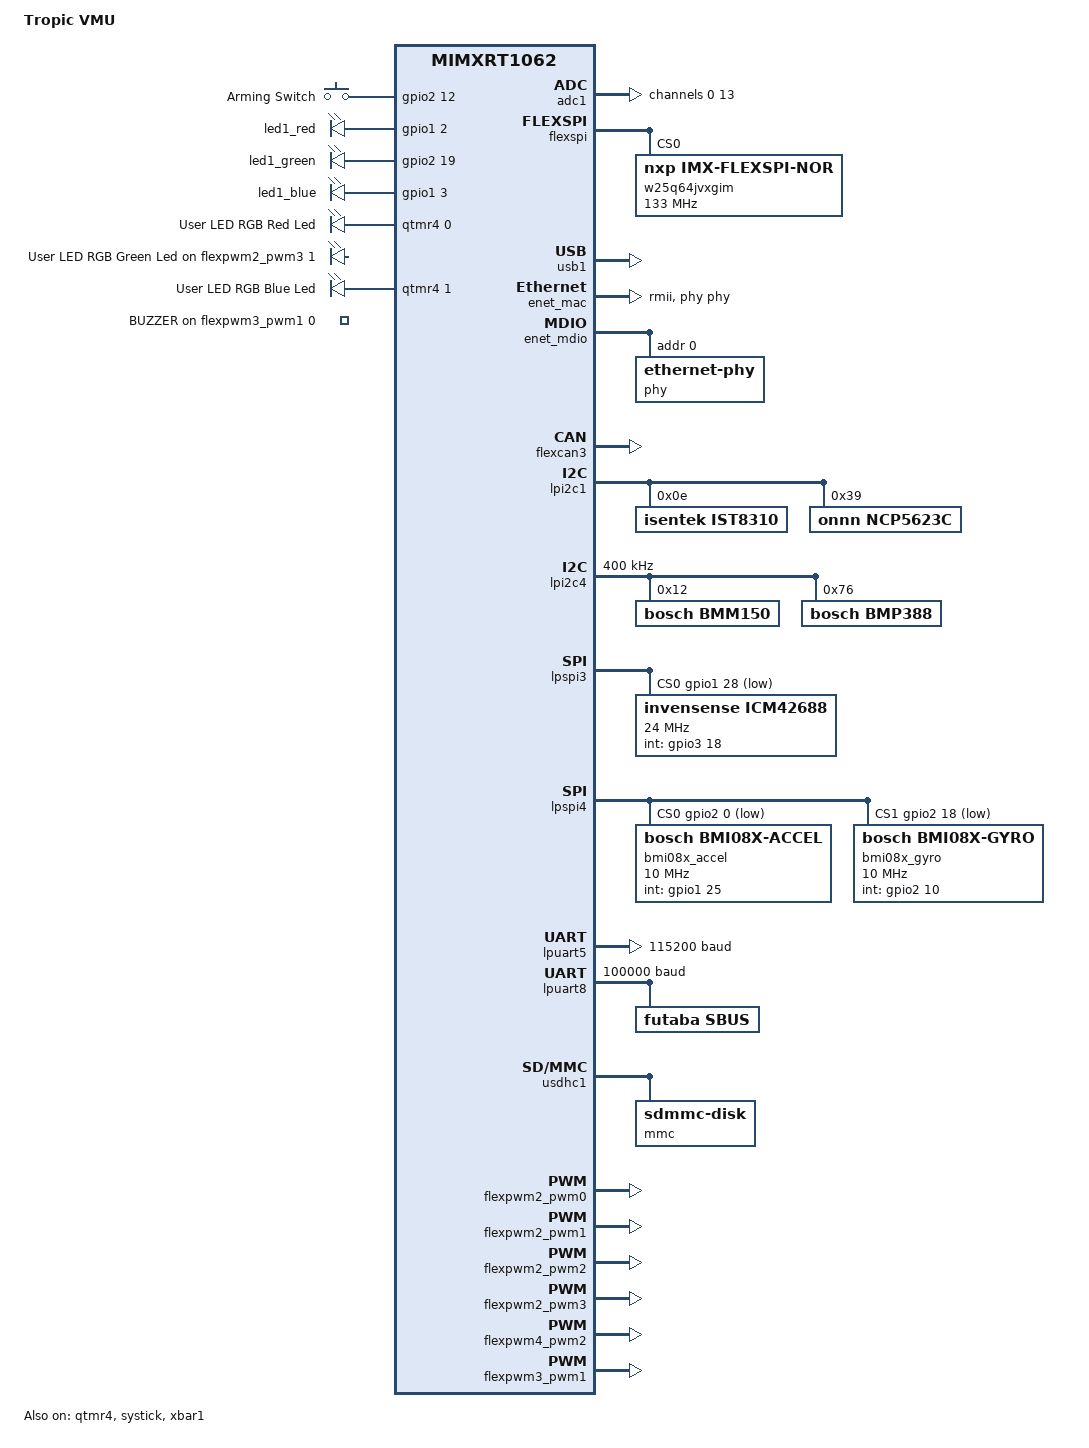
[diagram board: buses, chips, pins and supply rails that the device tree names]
/*
 * Copyright (c) 2020, Bernhard Kraemer
 * Copyright (c) 2024, Peter van der Perk
 *
 * SPDX-License-Identifier: Apache-2.0
 */

/dts-v1/;

#include <nxp/nxp_rt1060.dtsi>
#include <zephyr/dt-bindings/led/led.h>
#include "tropic-pinctrl.dtsi"
#include <freq.h>
#include <mem.h>
#include <zephyr/dt-bindings/input/input-event-codes.h>

/ {
	model = "Tropic VMU";
	compatible = "nxp,mimxrt1062";

	aliases {
		led0 = &led1_red;
		led1 = &led1_green;
		led2 = &led1_blue;
		pwm-led0 = &led1_red_pwm;
		pwm-led1 = &led1_green_pwm;
		pwm-led2 = &led1_blue_pwm;
		red-pwm-led = &led1_red_pwm;
		green-pwm-led = &led1_green_pwm;
		blue-pwm-led = &led1_blue_pwm;
		sw0 = &arming_button;
		buzzer = &buzzer;
	};

	chosen {
		zephyr,flash-controller = &w25q64jvxgim;
		zephyr,flash = &w25q64jvxgim;
		zephyr,sram = &ocram;
		zephyr,itcm = &itcm;
		zephyr,dtcm = &dtcm;
		zephyr,console = &lpuart5; /* Teensy Pins 35, 34 */
		zephyr,shell-uart = &lpuart5;
		zephyr,canbus = &flexcan3;
	};

	gpio_keys {
		compatible = "gpio-keys";
		arming_button: button_0 {
			label = "Arming Switch";
			gpios = <&gpio2 12 (GPIO_PULL_DOWN | GPIO_ACTIVE_HIGH)>;
			zephyr,code = <INPUT_KEY_0>;
		};
	};

    leds {
        compatible = "gpio-leds";
		
        led1_red: led1_red {
            gpios = <&gpio1 2 GPIO_ACTIVE_HIGH>;
		};

        led1_green: led1_green {
            gpios = <&gpio2 19 GPIO_ACTIVE_HIGH>;
		};

        led1_blue: led1_blue {
            gpios = <&gpio1 3 GPIO_ACTIVE_HIGH>;
		};
	};

    pwm {
        compatible = "pwm-leds";
		
		led1_red_pwm: led1_red_pwm {
			label = "User LED RGB Red Led";
            pwms = <&qtmr4 0 PWM_MSEC(20) PWM_POLARITY_INVERTED>;
		};
		
		led1_green_pwm: led1_green_pwm {
			label = "User LED RGB Green Led";
            pwms = <&flexpwm2_pwm3 1 PWM_MSEC(20) PWM_POLARITY_INVERTED>;
		};
		
		led1_blue_pwm: led1_blue_pwm {
			label = "User LED RGB Blue Led";
            pwms = <&qtmr4 1 PWM_MSEC(20) PWM_POLARITY_INVERTED>;
		};

        buzzer: buzzer {
            label = "BUZZER";
            pwms = <&flexpwm3_pwm1 0 PWM_KHZ(1) PWM_POLARITY_NORMAL>;
        };
    };
};

&adc1 {
	status = "okay";
	pinctrl-0 = <&pinmux_adc1>;
	pinctrl-names = "default";

	#address-cells = <1>;
	#size-cells = <0>;

	adc_a: channel@0 {
		reg = <0>;
		zephyr,gain = "ADC_GAIN_1";
		zephyr,reference = "ADC_REF_INTERNAL";
		zephyr,acquisition-time = <ADC_ACQ_TIME_DEFAULT>;
		zephyr,resolution = <12>;
	};

	adc_v: channel@13 {
		reg = <13>;
		zephyr,gain = "ADC_GAIN_1";
		zephyr,reference = "ADC_REF_INTERNAL";
		zephyr,acquisition-time = <ADC_ACQ_TIME_DEFAULT>;
		zephyr,resolution = <12>;
	};
};

&flexspi {
	status = "okay";

	reg = <0x402a8000 0x4000>, <0x60000000 DT_SIZE_M(8)>;
	/* WINBOND flash memory*/
	w25q64jvxgim: w25q64jvxgim@0 {
		compatible = "nxp,imx-flexspi-nor";
		size = <DT_SIZE_M(8 * 8)>;
		reg = <0>;
		spi-max-frequency = <DT_FREQ_M(133)>;
		status = "okay";
		jedec-id = [ef 70 17];

		erase-block-size = <4096>;
		write-block-size = <1>;
	};
};

zephyr_udc0: &usb1 {
	status = "okay";
};

&edma0 {
	status = "okay";
};

/* Pinmux settings */
&enet_mac {
	pinctrl-0 = <&pinmux_enet>;
	pinctrl-names = "default";
	zephyr,random-mac-address;
	phy-connection-type = "rmii";
	phy-handle = <&phy>;
};

&enet_mdio {
	status = "okay";
	pinctrl-0 = <&pinmux_enet>;
	pinctrl-names = "default";
	phy: phy@0 {
		compatible = "ethernet-phy";
		reg = <0>;
		status = "okay";
	};
};

&flexcan3 {
	status = "okay";
	pinctrl-0 = <&pinmux_flexcan3>;
	pinctrl-names = "default";
};

&lpi2c1 {
	status = "okay";
	pinctrl-0 = <&pinmux_lpi2c1>;
	pinctrl-names = "default";

	ist8310: ist8310@e {
		compatible = "isentek,ist8310";
		reg = <0xe>;
	};
	
	ncp5623c: ncp5623c@39 {
		compatible = "onnn,ncp5623c";
		reg = <0x39>;

		led_0 {
			label = "GNSS LED";
			index = <0>;
			color-mapping =
				<LED_COLOR_ID_RED>,
				<LED_COLOR_ID_GREEN>,
				<LED_COLOR_ID_BLUE>;
		};
	};
	
};

&lpi2c4 {
	status = "okay";
	pinctrl-0 = <&pinmux_lpi2c4>;
	pinctrl-names = "default";
	clock-frequency = <I2C_BITRATE_FAST>;

	bmm150: bmm150@12 {
		compatible = "bosch,bmm150";
		status = "okay";
		reg = <0x12>;
	};
	
	bmp388: bmp388@76 {
		status = "okay";
		compatible = "bosch,bmp388";
		reg = <0x76>;
	};
};

&lpspi3 {
	status = "okay";
	pinctrl-0 = <&pinmux_lpspi3>;
	pinctrl-names = "default";
	cs-gpios =<&gpio1 28 GPIO_ACTIVE_LOW>;

	icm42688: icm42688p@0 {
		compatible = "invensense,icm42688";
		reg = <0>;
		int-gpios = <&gpio3 18 GPIO_ACTIVE_HIGH>;
		spi-max-frequency = <24000000>;
		accel-hz = <100>;
		accel-fs = <16>;
		gyro-hz = <100>;
		gyro-fs = <2000>;
	};
};

&lpspi4 {
	status = "okay";
	pinctrl-0 = <&pinmux_lpspi4>;
	pinctrl-names = "default";
	cs-gpios = <&gpio2 0 GPIO_ACTIVE_LOW>,
			   <&gpio2 18 GPIO_ACTIVE_LOW>;
	
	bmi08x_accel: bmi08x@0 {
		compatible = "bosch,bmi08x-accel";
		reg = <0>;
		int-gpios = <&gpio1 25 GPIO_ACTIVE_HIGH>;
		spi-max-frequency = <10000000>;
		int1-map-io = <0x01>;
		int2-map-io = <0x00>;
		int1-conf-io = <0x04>;
		int2-conf-io = <0x00>;
		accel-hz = "800";
		accel-fs = <24>;
	};

	bmi08x_gyro: bmi08x@1 {
		compatible = "bosch,bmi08x-gyro";
		reg = <1>;
		int-gpios = <&gpio2 10 GPIO_ACTIVE_HIGH>;
		spi-max-frequency = <10000000>;
		int3-4-map-io = <0x01>;
		int3-4-conf-io = <0x02>;
		gyro-hz = "1000_116";
		gyro-fs = <1000>;
	};
};


&lpuart2 {
	pinctrl-0 = <&pinmux_lpuart2>;
	pinctrl-1 = <&pinmux_lpuart2_sleep>;
	pinctrl-names = "default", "sleep";
};

&lpuart3 {
	pinctrl-0 = <&pinmux_lpuart3>;
	pinctrl-1 = <&pinmux_lpuart3_sleep>;
	pinctrl-names = "default", "sleep";
};

&lpuart4 {
	pinctrl-0 = <&pinmux_lpuart4>;
	pinctrl-1 = <&pinmux_lpuart4_sleep>;
	pinctrl-names = "default", "sleep";
};

&lpuart5 {
	status = "okay";
	current-speed = < 115200 >;
	pinctrl-0 = <&pinmux_lpuart5>;
	pinctrl-1 = <&pinmux_lpuart5_sleep>;
	pinctrl-names = "default", "sleep";
};

&lpuart8 {
	status = "okay";
	current-speed = <100000>;
	pinctrl-0 = <&pinmux_lpuart8>;
	pinctrl-1 = <&pinmux_lpuart8_sleep>;
	pinctrl-names = "default", "sleep";
	rx-invert;
	single-wire;

	sbus {
		compatible = "futaba,sbus";
  		chan_1 {
            channel = <1>;
            type = <INPUT_EV_ABS>;
            zephyr,code = <1>;
        };
        chan_2 {
            channel = <2>;
            type = <INPUT_EV_ABS>;
            zephyr,code = <2>;
        };
        chan_3 {
            channel = <3>;
            type = <INPUT_EV_ABS>;
            zephyr,code = <3>;
        };
        chan_4 {
            channel = <4>;
            type = <INPUT_EV_ABS>;
            zephyr,code = <4>;
        };
        chan_5 {
            channel = <5>;
            type = <INPUT_EV_ABS>;
            zephyr,code = <5>;
        };
        chan_6 {
            channel = <6>;
            type = <INPUT_EV_ABS>;
            zephyr,code = <6>;
        };
        chan_7 {
            channel = <7>;
            type = <INPUT_EV_ABS>;
            zephyr,code = <7>;
        };
        chan_8 {
            channel = <8>;
            type = <INPUT_EV_ABS>;
            zephyr,code = <8>;
        };
        chan_9 {
            channel = <9>;
            type = <INPUT_EV_ABS>;
            zephyr,code = <9>;
        };
        chan_10 {
            channel = <10>;
            type = <INPUT_EV_ABS>;
            zephyr,code = <10>;
        };
        chan_11 {
            channel = <11>;
            type = <INPUT_EV_ABS>;
            zephyr,code = <11>;
        };
        chan_12 {
            channel = <12>;
            type = <INPUT_EV_ABS>;
            zephyr,code = <12>;
        };
        chan_13 {
            channel = <13>;
            type = <INPUT_EV_ABS>;
            zephyr,code = <13>;
        };
        chan_14 {
            channel = <14>;
            type = <INPUT_EV_ABS>;
            zephyr,code = <14>;
        };
        chan_15 {
            channel = <15>;
            type = <INPUT_EV_ABS>;
            zephyr,code = <15>;
        };
        chan_16 {
            channel = <16>;
            type = <INPUT_EV_ABS>;
            zephyr,code = <16>;
        };
	};
};

&usdhc1 {
	status = "okay";
	pinctrl-0 = <&pinmux_usdhc1>;
	pinctrl-1 = <&pinmux_usdhc1_slow>;
	pinctrl-2 = <&pinmux_usdhc1_med>;
	pinctrl-3 = <&pinmux_usdhc1_fast>;
	pinctrl-names = "default", "slow", "med", "fast";
};

&flexpwm2_pwm0 {
	status = "okay";
	pinctrl-0 = <&pinmux_flexpwm2_pwm0_ch1_ch2>;
	pinctrl-names = "default";
	nxp,prescaler = <64>;
};

&flexpwm2_pwm1 {
	status = "okay";
	pinctrl-0 = <&pinmux_flexpwm2_pwm1_ch3>;
	pinctrl-names = "default";
	nxp,prescaler = <64>;
};

&flexpwm2_pwm2 {
	status = "okay";
	pinctrl-0 = <&pinmux_flexpwm2_pwm2_ch4>;
	pinctrl-names = "default";
	nxp,prescaler = <64>;
};

&flexpwm2_pwm3 {
	status = "okay";
	pinctrl-0 = <&pinmux_flexpwm2_pwm3_led_g>;
	pinctrl-names = "default";
	nxp,prescaler = <64>;
};

&flexpwm4_pwm2 {
	status = "okay";
	pinctrl-0 = <&pinmux_flexpwm4_pwm2_ch5_ch6>;
	pinctrl-names = "default";
	nxp,prescaler = <64>;
};

&flexpwm3_pwm1 {
	status = "okay";
	pinctrl-0 = <&pinmux_flexpwm3_pwm1_buzzer>;
	pinctrl-names = "default";
	nxp,prescaler = <64>;
};

&qtmr4 {
	compatible = "nxp,qtmr-pwm";
	pinctrl-0 = <&pinmux_qtmr4_rb_led>;
	pinctrl-names = "default";
	#pwm-cells = <3>;
	prescaler = <128>;
	status = "okay";
};

&systick {
	status = "okay";
};

&usdhc1 {
	status = "okay";
	no-1-8-v;
	pinctrl-0 = <&pinmux_usdhc1>;
	pinctrl-1 = <&pinmux_usdhc1_slow>;
	pinctrl-2 = <&pinmux_usdhc1_med>;
	pinctrl-3 = <&pinmux_usdhc1_fast>;
	pinctrl-names = "default", "slow", "med", "fast";
	mmc {
		compatible = "zephyr,sdmmc-disk";
		status = "okay";
	};
};

&xbar1 {
	status = "okay";
	xbar-maps = < (16|0x100) (36|0x100) >, /* kXBARA1_OutputIomuxXbarInout16 <-> QTIMER4_TMR0_OUTPUT */
		    < (17|0x100) (37|0x100) >; /* kXBARA1_OutputIomuxXbarInout17 <-> QTIMER4_TMR1_OUTPUT */
};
